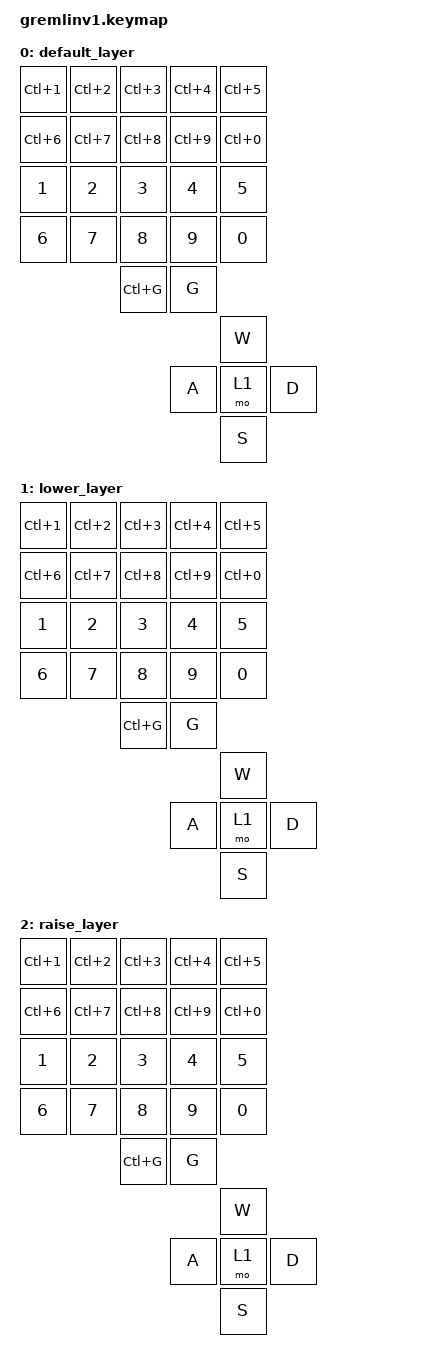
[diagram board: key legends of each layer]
/*
 * Copyright (c) 2020 The ZMK Contributors
 *
 * SPDX-License-Identifier: MIT
 */

#include <behaviors.dtsi>
#include <dt-bindings/zmk/bt.h>
#include <dt-bindings/zmk/keys.h>

// Gremlin V1 Setup

/ {
    keymap {
        compatible = "zmk,keymap";

        default_layer {
            // -----------------------------------------------------------------------------------------
            // |  Q  |  W  |  E  |  R  |  T  |  
            // |  Q  |  W  |  E  |  R  |  T  |  
            // |  A  |  S  |  D  |  F  |  G  |   
            // |  Z  |  X  |  C  |  V  |  B  |  
            //                   | GUI | LWR | 

            bindings = <
  &kp LC(N1)              &kp LC(N2)            &kp LC(N3)         &kp LC(N4)    &kp LC(N5)  
  &kp LC(N6)              &kp LC(N7)            &kp LC(N8)         &kp LC(N9)    &kp LC(N0)
  &kp 1                   &kp 2                 &kp 3              &kp 4         &kp 5  
  &kp 6                   &kp 7                 &kp 8              &kp 9         &kp 0  
                                                &kp LC(G)          &kp G
                                                                                 &kp W
                                                                          &kp A  &mo 1 &kp D
                                                                                 &kp S
            >;
        };

        lower_layer {
            // -----------------------------------------------------------------------------------------
            // |  Q  |  W  |  E  |  R  |  T  |  
            // |  Q  |  W  |  E  |  R  |  T  |  
            // |  A  |  S  |  D  |  F  |  G  |   
            // |  Z  |  X  |  C  |  V  |  B  |  
            //                   | GUI | LWR | 

            bindings = <
  &kp LC(N1)              &kp LC(N2)            &kp LC(N3)         &kp LC(N4)    &kp LC(N5)  
  &kp LC(N6)              &kp LC(N7)            &kp LC(N8)         &kp LC(N9)    &kp LC(N0)
  &kp 1                   &kp 2                 &kp 3              &kp 4         &kp 5  
  &kp 6                   &kp 7                 &kp 8              &kp 9         &kp 0  
                                                &kp LC(G)          &kp G
                                                                                 &kp W
                                                                          &kp A  &mo 1 &kp D
                                                                                 &kp S
            >;
        };

        raise_layer {
            // -----------------------------------------------------------------------------------------
            // |  Q  |  W  |  E  |  R  |  T  |  
            // |  Q  |  W  |  E  |  R  |  T  |  
            // |  A  |  S  |  D  |  F  |  G  |   
            // |  Z  |  X  |  C  |  V  |  B  |  
            //                   | GUI | LWR | 

            bindings = <
  &kp LC(N1)              &kp LC(N2)            &kp LC(N3)         &kp LC(N4)    &kp LC(N5)  
  &kp LC(N6)              &kp LC(N7)            &kp LC(N8)         &kp LC(N9)    &kp LC(N0)
  &kp 1                   &kp 2                 &kp 3              &kp 4         &kp 5  
  &kp 6                   &kp 7                 &kp 8              &kp 9         &kp 0  
                                                &kp LC(G)          &kp G
                                                                                 &kp W
                                                                          &kp A  &mo 1 &kp D
                                                                                 &kp S
            >;
        };
    };
};
